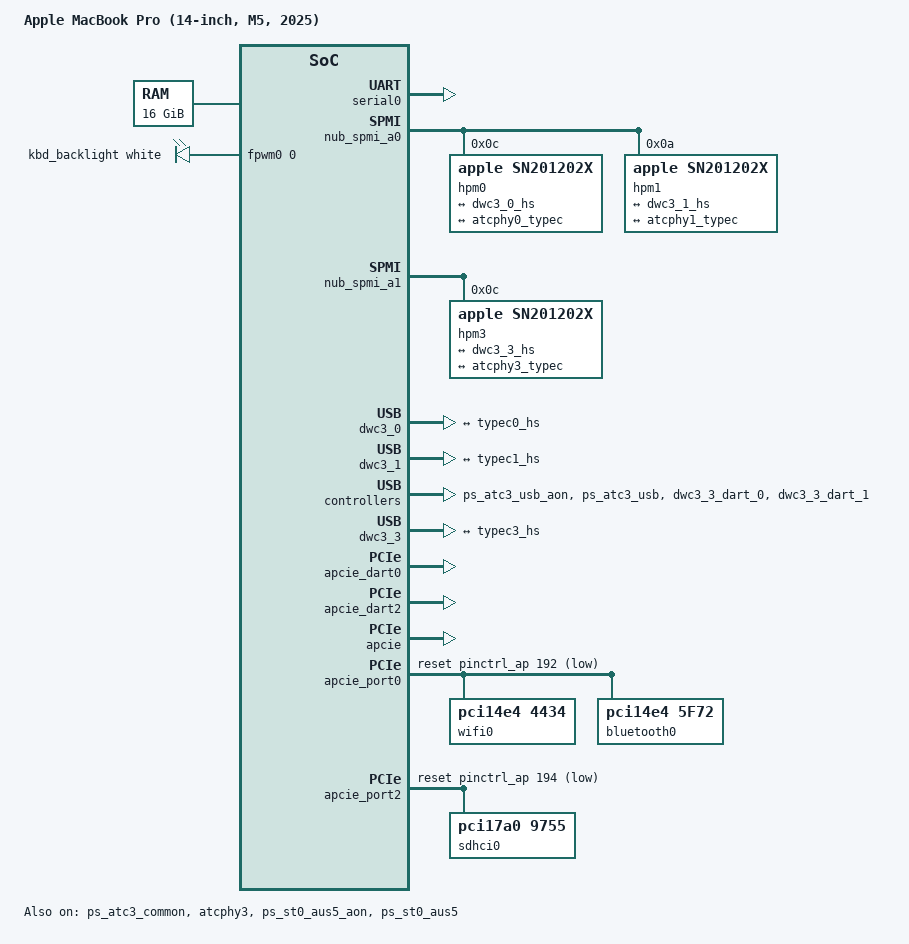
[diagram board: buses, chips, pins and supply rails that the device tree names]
// SPDX-License-Identifier: GPL-2.0+ OR MIT
/*
 * Apple MacBook Pro (14-inch, M5, 2025)
 *
 * target-type: J704
 *
 * Copyright The Asahi Linux Contributors
 */

/dts-v1/;

#include "t8142.dtsi"

#include <dt-bindings/gpio/gpio.h>
#include <dt-bindings/leds/common.h>
#include <dt-bindings/spmi/spmi.h>

/ {
	compatible = "apple,j704", "apple,t8142", "apple,arm-platform";
	model = "Apple MacBook Pro (14-inch, M5, 2025)";
	chassis-type = "laptop";

	aliases {
		serial0 = &serial0;
		serial1 = &dockchannel;
		nvram = &nvram;
		nvme = &nvme;
		pmp = &pmp;
		mtp = &mtp;
		keyboard = &keyboard;
		atcphy0 = &atcphy0;
		atcphy1 = &atcphy1;
		atcphy2 = &atcphy2;
		atcphy3 = &atcphy3;
		usb0 = &dwc3_0;
		usb1 = &dwc3_1;
		usb3 = &dwc3_3;
		wifi0 = &wifi0;
		bluetooth0 = &bluetooth0;
	};

	chosen {
		#address-cells = <2>;
		#size-cells = <2>;
		ranges;

		stdout-path = "serial0:115200n8";

		framebuffer0: framebuffer@0 {
			compatible = "apple,simple-framebuffer", "simple-framebuffer";
			reg = <0 0 0 0>; /* Filled by the loader. */
			/* Format properties are added by the loader. */
			status = "disabled";
		};
	};

	reserved-memory {
		#address-cells = <2>;
		#size-cells = <2>;
		ranges;
		/* Filled by the loader. */
	};

	memory@10000000000 {
		device_type = "memory";
		reg = <0x100 0 0x4 0>; /* Filled by the loader. */
	};

	led-controller {
		compatible = "pwm-leds";

		led-0 {
			pwms = <&fpwm0 0 40000>;
			label = "kbd_backlight";
			function = LED_FUNCTION_KBD_BACKLIGHT;
			color = <LED_COLOR_ID_WHITE>;
			max-brightness = <255>;
			default-state = "keep";
		};
	};
};

/* ADT voltage-states1-sram level 9 and voltage-states5-sram levels 19-20. */
&ecluster_opp {
	opp-3048000000 {
		opp-hz = /bits/ 64 <3048000000>;
		opp-level = <9>;
	};
};

&pcluster_opp {
	opp-4512000000 {
		opp-hz = /bits/ 64 <4512000000>;
		opp-level = <19>;
	};

	opp-4608000000 {
		opp-hz = /bits/ 64 <4608000000>;
		opp-level = <20>;
	};
};

/*
 * The 26.x ANS firmware ends the nvme block at 0x10000 (ADT ans reg[9]) and
 * keeps the linear submission queues in the NVMMU block.
 */
&nvme {
	reg = <0x4 0xc5cc0000 0x0 0x10000>,
	      <0x4 0x81600000 0x0 0x4000>,
	      <0x4 0x85cc0000 0x0 0x60000>;
};

/* The loader starts the kernel at EL2 with spin-table: no PSCI idle. */
&cpuidle {
	status = "okay";
};

&serial0 {
	status = "okay";
};

&pinctrl_ap {
	/* Pins the firmware lists as no-restore (ADT gpio0) */
	gpio-reserved-ranges = <78 1>, <136 2>, <163 1>, <203 1>;
};

&smc_gpio {
	/* ADT pKW4(gPxx, template) platform functions */
	apple,function-templates =
		<0x0f 0x800000>,	/* dp2hdmi-gpio0 hdmi_pwr_en */
		<0x10 0x10000>,		/* dp2hdmi-gpio0 reset */
		<0x13 0x800000>,	/* amfm reg_on (Wi-Fi/Bluetooth) */
		<0x19 0x0>,		/* pcie-sdreader sd_pwr_en */
		<0x1a 0x0>,		/* dp2hdmi-gpio0 dp2hdmi_pwr_en */
		<0x1c 0x10000>,		/* multi-touch afe-reset */
		<0x1d 0x10000>;		/* stm stm-reset */
};

&mtp_hid {
	/* ADT dockchannel-mtp/mtp-transport/multi-touch function-afe-reset */
	apple,afe-reset-gpios = <&smc_gpio 0x1c GPIO_ACTIVE_HIGH>;

	stm { };

	multi-touch {
		firmware-name = "apple/tpmtfw-j704.bin";
		apple,power-method = <2>;
	};

	/* Layout is filled by the loader using this machine's own data. */
	keyboard: keyboard { };
};

/*
 * Type-C ports: left-front (ATC0) and left-rear (ATC1) on nub SPMI A0,
 * right (ATC3) on nub SPMI A1. ATC2 has no connector: it drives the HDMI
 * port through a DisplayPort to HDMI converter.
 */
&nub_spmi_a0 {
	hpm0: usb-pd@c {
		compatible = "apple,sn201202x";
		reg = <0xc SPMI_USID>;

		typec0: connector {
			compatible = "usb-c-connector";
			label = "USB-C Left-front";
			power-role = "dual";
			data-role = "host";

			ports {
				#address-cells = <1>;
				#size-cells = <0>;

				port@0 {
					reg = <0>;
					typec0_hs: endpoint {
						remote-endpoint = <&dwc3_0_hs>;
					};
				};

				port@1 {
					reg = <1>;
					typec0_ss: endpoint {
						remote-endpoint = <&atcphy0_typec>;
					};
				};
			};
		};
	};

	hpm1: usb-pd@a {
		compatible = "apple,sn201202x";
		reg = <0xa SPMI_USID>;

		typec1: connector {
			compatible = "usb-c-connector";
			label = "USB-C Left-rear";
			power-role = "dual";
			data-role = "host";

			ports {
				#address-cells = <1>;
				#size-cells = <0>;

				port@0 {
					reg = <0>;
					typec1_hs: endpoint {
						remote-endpoint = <&dwc3_1_hs>;
					};
				};

				port@1 {
					reg = <1>;
					typec1_ss: endpoint {
						remote-endpoint = <&atcphy1_typec>;
					};
				};
			};
		};
	};
};

&ps_nub_spmi_a1 {
	status = "okay";
};

&nub_spmi_a1 {
	status = "okay";

	hpm3: usb-pd@c {
		compatible = "apple,sn201202x";
		reg = <0xc SPMI_USID>;

		typec3: connector {
			compatible = "usb-c-connector";
			label = "USB-C Right";
			power-role = "dual";
			data-role = "host";

			ports {
				#address-cells = <1>;
				#size-cells = <0>;

				port@0 {
					reg = <0>;
					typec3_hs: endpoint {
						remote-endpoint = <&dwc3_3_hs>;
					};
				};

				port@1 {
					reg = <1>;
					typec3_ss: endpoint {
						remote-endpoint = <&atcphy3_typec>;
					};
				};
			};
		};
	};
};

&dwc3_0 {
	ports {
		port@0 {
			reg = <0>;
			dwc3_0_hs: endpoint {
				remote-endpoint = <&typec0_hs>;
			};
		};
	};
};

&atcphy0 {
	ports {
		port@0 {
			reg = <0>;
			atcphy0_typec: endpoint {
				remote-endpoint = <&typec0_ss>;
			};
		};
	};
};

&dwc3_1 {
	ports {
		port@0 {
			reg = <0>;
			dwc3_1_hs: endpoint {
				remote-endpoint = <&typec1_hs>;
			};
		};
	};
};

&atcphy1 {
	ports {
		port@0 {
			reg = <0>;
			atcphy1_typec: endpoint {
				remote-endpoint = <&typec1_ss>;
			};
		};
	};
};

&ps_atc3_common {
	status = "okay";
};

&ps_atc3_usb_aon {
	status = "okay";
};

&ps_atc3_usb {
	status = "okay";
};

&dwc3_3_dart_0 {
	status = "okay";
};

&dwc3_3_dart_1 {
	status = "okay";
};

&dwc3_3 {
	status = "okay";

	ports {
		port@0 {
			reg = <0>;
			dwc3_3_hs: endpoint {
				remote-endpoint = <&typec3_hs>;
			};
		};
	};
};

&atcphy3 {
	status = "okay";

	ports {
		port@0 {
			reg = <0>;
			atcphy3_typec: endpoint {
				remote-endpoint = <&typec3_ss>;
			};
		};
	};
};

/*
 * APCIe: port 0 carries the Wi-Fi/Bluetooth module (BCM4388, "linosa"),
 * port 2 the SD card reader (GL9755). PERST# is gpio0 192/194 (ADT
 * pci-bridgeN function-perst), power the SMC functions above.
 */
&ps_st0_aus5_aon {
	status = "okay";
};

&ps_st0_aus5 {
	status = "okay";
	/*
	 * The boot loader trains the APCIe links; the kernel cannot bring the
	 * controller back from a power-off, so it stays on through sleep.
	 */
	apple,sleep-retained;
};

&apcie_dart0 {
	status = "okay";
};

&apcie_dart2 {
	status = "okay";
};

&apcie {
	status = "okay";
};

&apcie_port0 {
	bus-range = <1 1>;
	reset-gpios = <&pinctrl_ap 192 GPIO_ACTIVE_LOW>;
	pwren-gpios = <&smc_gpio 0x13 GPIO_ACTIVE_HIGH>;
	status = "okay";

	wifi0: wifi@0,0 {
		compatible = "pci14e4,4434";
		reg = <0x10000 0x0 0x0 0x0 0x0>;
		brcm,board-type = "apple,linosa";
		/* To be filled by the loader */
		local-mac-address = [00 00 00 00 00 00];
		apple,antenna-sku = "XX";
	};

	bluetooth0: bluetooth@0,1 {
		compatible = "pci14e4,5f72";
		reg = <0x10100 0x0 0x0 0x0 0x0>;
		brcm,board-type = "apple,linosa";
		/* To be filled by the loader */
		local-bd-address = [00 00 00 00 00 00];
	};
};

&apcie_port2 {
	bus-range = <2 2>;
	reset-gpios = <&pinctrl_ap 194 GPIO_ACTIVE_LOW>;
	pwren-gpios = <&smc_gpio 0x19 GPIO_ACTIVE_HIGH>;
	status = "okay";

	sdhci0: mmc@0,0 {
		compatible = "pci17a0,9755";
		reg = <0x20000 0x0 0x0 0x0 0x0>;
		cd-inverted;
		wp-inverted;
	};
};

/*
 * Temperatures come from apple,discover-temperatures (t8142.dtsi), which
 * rules out the fixed temperature lists of hwmon-common/hwmon-laptop.
 */
#include "hwmon-fan.dtsi"

&smc_hwmon {
	fan-F0Ac {
		/* This SMC names the fan mode key in lower case. */
		apple,fan-mode = "F0md";
	};
};

#include "t8142-j704-usb4.dtsi"

#include "t8142-j704-display.dtsi"
#include "t8142-j704-audio.dtsi"
